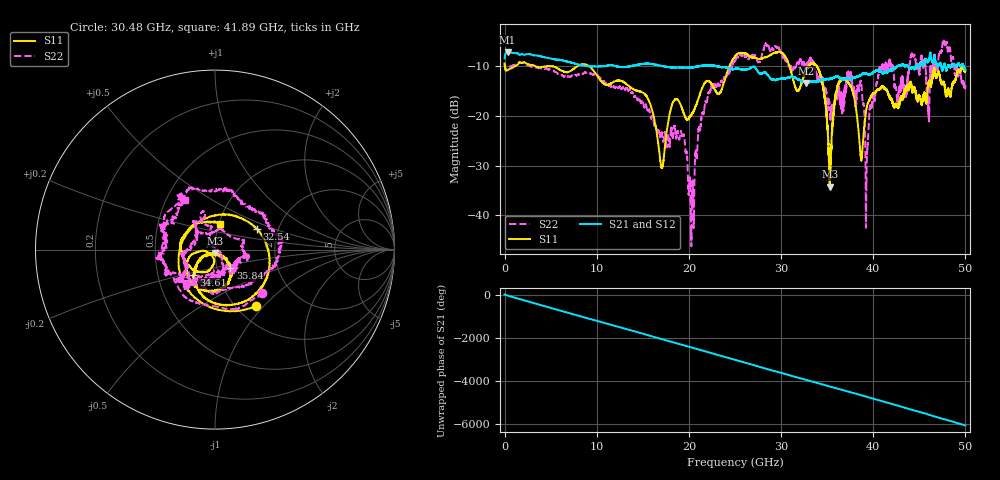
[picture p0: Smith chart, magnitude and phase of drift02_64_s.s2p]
!Created with skrf (http://scikit-rf.org).
# Hz S RI R 50.0
!freq ReS11 ImS11 ReS21 ImS21 ReS12 ImS12 ReS22 ImS22
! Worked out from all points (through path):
!   10001 points, 300 kHz to 50 GHz, reference 50 ohm
!   highest |S21| = -7.31 dB at 325.3 MHz (marker M1); lowest = -13.5 dB at 32.75 GHz (marker M2)
!   group delay of S21, straight-line fit = 335 ps
!   lowest |S11| = -34.2 dB at 35.31 GHz (marker M3), VSWR 1.04, Z = 50.2 - j1.94 ohm
!   |S11| at or under -10 dB: 3.231 GHz to 8.002 GHz (4.771 GHz wide, 84.9 % of centre); 9.106 GHz to 24.42 GHz (15.31 GHz wide, 91.3 % of centre); 33.83 GHz to end of sweep (the widest 3 of 9)
!   |S22| runs from -46.2 to -4.9 dB; largest |S21 - S12| = 0.013
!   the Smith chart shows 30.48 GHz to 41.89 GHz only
!   S11 on the Smith chart (normalised r, x): 30.48 GHz: 1.22, -0.90; 32.54 GHz: 1.54, +0.39; 34.61 GHz: 0.76, -0.22; 35.84 GHz: 1.16, -0.25; 41.89 GHz: 1.01, +0.30
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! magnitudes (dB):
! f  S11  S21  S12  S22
! 300 kHz  -9.5  -8.5  -8.5  -9.5
! 325.3 MHz  -10.9  -7.3  -7.3  -10.6
! 8.335 GHz  -9.7  -9.9  -9.9  -11.6
! 16.67 GHz  -25.6  -9.9  -9.9  -22.9
! 19.31 GHz  -18.8  -10.4  -10.4  -24.4
! 20.37 GHz  -19.5  -10.3  -10.4  -34.2
! 21.94 GHz  -13.1  -10.0  -10.0  -17.2
! 25 GHz  -8.1  -10.6  -10.6  -9.0
! 30.48 GHz  -8.3  -12.5  -12.5  -8.9
! 32.54 GHz  -11.7  -13.3  -13.4  -9.9
! 32.75 GHz  -10.8  -13.5  -13.5  -9.8
! 33.34 GHz  -9.6  -13.1  -13.2  -9.0
! 34.61 GHz  -14.6  -12.7  -12.7  -13.7
! 35.31 GHz  -34.2  -12.6  -12.5  -19.6
! 35.84 GHz  -17.4  -12.2  -12.3  -16.4
! 37.36 GHz  -13.5  -12.5  -12.4  -11.9
! 38.54 GHz  -25.9  -12.0  -12.0  -14.1
! 39.31 GHz  -18.3  -11.6  -11.6  -28.9
! 41.67 GHz  -15.8  -10.9  -11.1  -9.6
! 41.89 GHz  -16.6  -11.0  -10.9  -9.7
! 47.77 GHz  -14.4  -9.8  -9.7  -5.6
! 50 GHz  -11.0  -10.8  -10.8  -14.0
